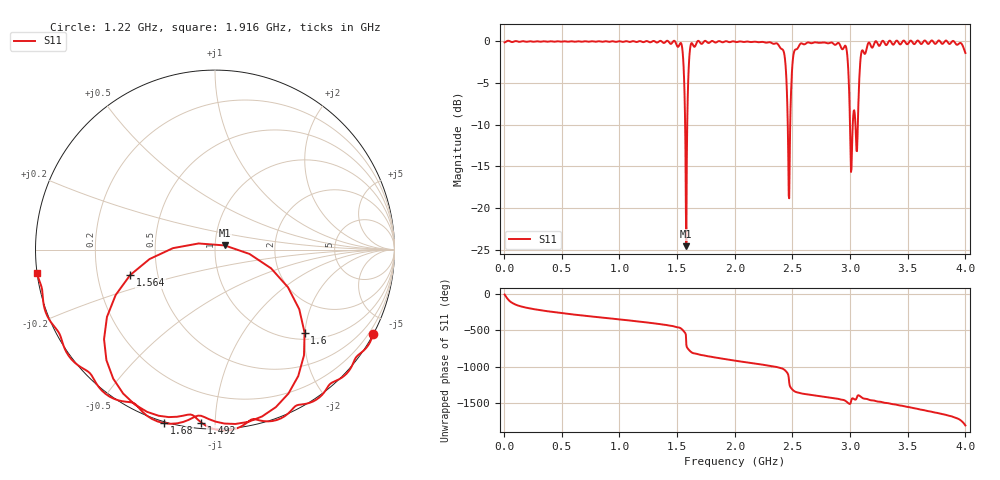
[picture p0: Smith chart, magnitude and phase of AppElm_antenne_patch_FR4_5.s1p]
! TOUCHSTONE file generated by CST MICROWAVE STUDIO
! Date and time: Tue Jun 14 13:48:53 2022
! Project name: AppElm_antenne_patch_FR4.cst
! Parameters = {L=45; W=58.5; e=0.035; h=1.6; lambda=0.190476; ls=120; w0=2.54; w1=0.847; ws=120; y0=18; y1=22.61}
! Header version: 2018
! Port assignment regex: !\s*Touchstone port\s*([0-9]+)\s*=\s*(CST MWS port|CST DS port)\s*([0-9]+|Zmin|Zmax)\s*\(\"(.*)\"\)(\s*mode\s*([0-9]+))?.*
! Touchstone port assignment:
! Touchstone port 1 = CST MWS port 1 ("")
# GHz S MA R 50
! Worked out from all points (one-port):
!   1000 points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, 4 MHz to 4 GHz, reference 50 ohm
!   lowest |S11| = -24.6 dB at 1.58 GHz (marker M1), VSWR 1.13, Z = 55.7 + j2.59 ohm
!   |S11| at or under -10 dB: 2.46 GHz to 2.481 GHz (21.2 MHz wide, 0.858 % of centre); 2.999 GHz to 3.023 GHz (23.96 MHz wide, 0.796 % of centre); 3.046 GHz to 3.067 GHz (20.71 MHz wide, 0.678 % of centre)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
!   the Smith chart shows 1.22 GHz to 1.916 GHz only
!   S11 on the Smith chart (normalised r, x): 1.22 GHz: 0.02, -4.00; 1.492 GHz: 0.03, -0.92; 1.564 GHz: 0.34, -0.13; 1.6 GHz: 1.16, -1.99; 1.68 GHz: -0.01, -0.75; 1.916 GHz: -0.00, -0.06
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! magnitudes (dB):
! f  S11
! 4 MHz  -0.1
! 504 MHz  0.0
! 1.004 GHz  0.0
! 1.22 GHz  0.0
! 1.492 GHz  -0.3
! 1.504 GHz  -0.6
! 1.544 GHz  -0.8
! 1.564 GHz  -6.1
! 1.58 GHz  -24.6
! 1.6 GHz  -3.4
! 1.62 GHz  -0.3
! 1.68 GHz  0.1
! 1.916 GHz  0.0
! 2.004 GHz  0.0
! 2.408 GHz  -0.9
! 2.436 GHz  -2.2
! 2.468 GHz  -18.5
! 2.484 GHz  -7.9
! 2.504 GHz  -2.1
! 2.576 GHz  -0.2
! 2.952 GHz  -0.6
! 2.976 GHz  -1.7
! 3.004 GHz  -13.3
! 3.056 GHz  -13.1
! 3.092 GHz  -1.9
! 3.112 GHz  -1.1
! 3.504 GHz  -0.2
! 4 GHz  -1.4
